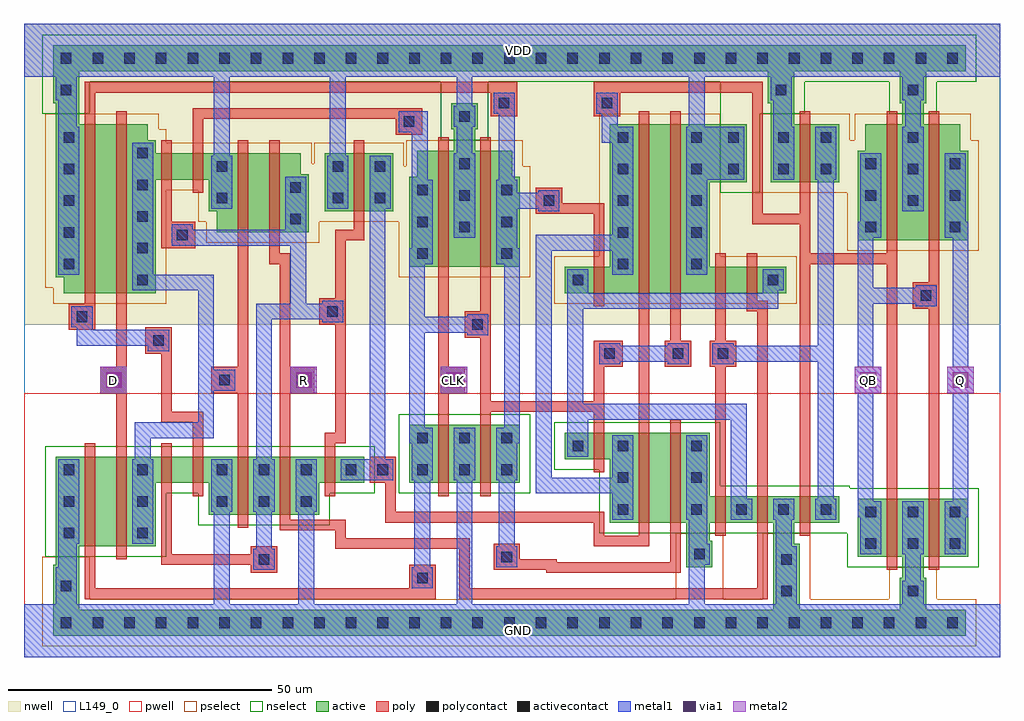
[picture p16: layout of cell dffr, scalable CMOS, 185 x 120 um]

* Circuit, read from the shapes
.subckt dffr CLK D GND Q QB R VDD
M1 n1 n2 GND GND nfet w=17u l=2u
M2 n3 D n1 GND nfet w=17u l=2u
M3 n4 n5 n3 GND nfet w=5u l=2u
M4 GND n6 n4 GND nfet w=5u l=2u
M5 n5 n3 GND GND nfet w=11u l=2u
M6 GND R n5 GND nfet w=11u l=2u
M7 n7 n5 GND GND nfet w=5u l=2u
M8 GND CLK n2 GND nfet w=11u l=2u
M9 n6 n2 GND GND nfet w=11u l=2u
M10 n8 n2 n9 GND nfet w=5u l=2u
M11 n10 n7 n8 GND nfet w=17u l=2u
M12 GND n6 n10 GND nfet w=17u l=2u
M13 n9 n11 GND GND nfet w=5u l=2u
M14 GND R n9 GND nfet w=5u l=2u
M15 n11 n8 GND GND nfet w=5u l=2u
M16 GND n8 QB GND nfet w=11u l=2u
M17 Q QB GND GND nfet w=11u l=2u
M18 n12 n6 VDD VDD pfet w=32u l=2u
M19 n3 D n12 VDD pfet w=32u l=2u
M20 n13 n5 n3 VDD pfet w=5u l=2u
M21 VDD n2 n13 VDD pfet w=5u l=2u
M22 n14 n3 VDD VDD pfet w=15u l=2u
M23 n5 R n14 VDD pfet w=15u l=2u
M24 n7 n5 VDD VDD pfet w=11u l=2u
M25 VDD CLK n2 VDD pfet w=22u l=2u
M26 n6 n2 VDD VDD pfet w=22u l=2u
M27 n8 n6 n9 VDD pfet w=5u l=2u
M28 n15 n7 n8 VDD pfet w=32u l=2u
M29 VDD n2 n15 VDD pfet w=32u l=2u
M30 n16 n11 VDD VDD pfet w=5u l=2u
M31 n9 R n16 VDD pfet w=5u l=2u
M32 n11 n8 VDD VDD pfet w=11u l=2u
M33 VDD n8 QB VDD pfet w=22u l=2u
M34 Q QB VDD VDD pfet w=22u l=2u
.ends

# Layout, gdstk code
from math import pi, radians
import gdstk
lib = gdstk.Library(unit=1e-6, precision=1e-09)
def R(c, l, rs):  # rectangles x0, y0, x1, y1
    for r in rs: c.add(gdstk.rectangle(r[:2], r[2:], *l))
def A(c, l, x, y, w, h, nx, ny, dx, dy):  # array of equal rectangles
    R(c, l, [(x+i*dx, y+j*dy, x+i*dx+w, y+j*dy+h) for i in range(nx) for j in range(ny)])
def P(c, l, *ps):  # polygons
    for p in ps: c.add(gdstk.Polygon(p, *l))
pwell = (41, 0)
nwell = (42, 0)
active = (43, 0)
pselect = (44, 0)
nselect = (45, 0)
poly = (46, 0)
polycontact = (47, 0)
activecontact = (48, 0)
metal1 = (49, 0)
via1 = (50, 0)
metal2 = (51, 0)
L149_0 = (149, 0)

via = lib.new_cell('via')
R(via, metal1, [(-2.5,-2.5,2.5,2.5)])
R(via, via1, [(-1.5,-1.5,1.5,1.5)])
R(via, metal2, [(-2.5,-2.5,2.5,2.5)])

dffr = lib.new_cell('dffr')
R(dffr, pwell, [(0,0,185,50), (152,13,185,36), (67,27,100,50)])
P(dffr, pwell, [(0,15),(0,44),(70.5,44),(70.5,27),(62,27),(62,21),(31,21),(31,15)],
  [(105,19.5),(105,31.5),(96.5,31.5),(96.5,48.5),(136,48.5),(136,36.5),(160.5,36.5),(160.5,19.5)])
R(dffr, nwell, [(0,63,185,120), (51,78.5,76,101.5), (135.5,84,160.5,107)])
P(dffr, nwell, [(152,73),(152,102),(153.5,102),(153.5,107),(183.5,107),(183.5,102),(185,102),(185,73)],
  [(31,63),(31,74.5),(60,74.5),(60,97.5),(58.5,97.5),(58.5,101.5),(31,101.5),(31,104),(29.5,104),(29.5,107),(0,107),(0,66),(1.5,66),(1.5,63)],
  [(96.5,63),(96.5,80),(105,80),(105,107),(136,107),(136,80),(150.5,80),(150.5,63)],
  [(67,68),(67,97),(68.5,97),(68.5,102),(98.5,102),(98.5,97),(100,97),(100,68)])
R(dffr, active, [(5.5,4,178.5,9), (5.5,9,10.5,17.5), (142,9,147,21.5), (166,9,171,15), (166.5,15,170.5,19), (125.5,17,130.5,22), (6,17.5,10.5,21), (158,19,163.5,30), (158,19,179,30), (173.5,19,179,30), (6,21,11.5,38), (142,21.5,146,25.5), (125.5,22,130,25.5), (149,25.5,154.5,30.5), (59,33,64.5,38), (73,33,78.5,44), (73,33,94,44), (88.5,33,94,44), (102.5,37.5,108,42.5), (102.5,69,108,74), (139,69,144.5,74), (57,84.5,62.5,95.5), (57,84.5,70,95.5), (64.5,84.5,70,95.5), (130,90,137,101), (141.5,90,147,101), (141.5,90,154.5,101), (149,90,154.5,101), (81.5,96,85.5,100), (81,100,86,105), (6,101,10.5,105), (141.5,101,146,105), (166.5,101,170.5,105), (5.5,105,10.5,111), (141,105,146,111), (166,105,171,111), (5.5,111,178.5,116)])
P(dffr, active, [(158,79),(158,96),(159.5,96),(159.5,101),(177.5,101),(177.5,96),(179,96),(179,79)],
  [(158,79),(158,96),(159.5,96),(159.5,101),(163.5,101),(163.5,79)],
  [(173.5,79),(173.5,101),(177.5,101),(177.5,96),(179,96),(179,79)],
  [(25,69),(25,90.5),(35,90.5),(35,84.5),(36.5,84.5),(36.5,80.5),(54,80.5),(54,91.5),(52.5,91.5),(52.5,95.5),(25,95.5),(25,98),(23.5,98),(23.5,101),(6,101),(6,72),(7.5,72),(7.5,69)],
  [(54,80.5),(54,91.5),(52.5,91.5),(52.5,95.5),(48.5,95.5),(48.5,80.5)],
  [(11.5,69),(11.5,101),(6,101),(6,72),(7.5,72),(7.5,69)],
  [(6,21),(6,38),(64.5,38),(64.5,33),(56,33),(56,27),(35,27),(35,33),(25,33),(25,21)],
  [(102.5,69),(102.5,74),(111,74),(111,101),(130,101),(130,74),(144.5,74),(144.5,69)],
  [(73,74),(73,91),(74.5,91),(74.5,96),(92.5,96),(92.5,91),(94,91),(94,74)],
  [(73,74),(73,91),(74.5,91),(74.5,96),(78.5,96),(78.5,74)],
  [(88.5,74),(88.5,96),(92.5,96),(92.5,91),(94,91),(94,74)],
  [(111,25.5),(111,37.5),(102.5,37.5),(102.5,42.5),(130,42.5),(130,30.5),(154.5,30.5),(154.5,25.5)])
R(dffr, pselect, [(3.5,2,180.5,11), (3.5,11,12.5,19), (123.5,11,132.5,23.5), (140,11,149,23.5), (164,11,173,17), (55,82.5,72,97.5), (139.5,88,156.5,103)])
P(dffr, pselect, [(156,77),(156,98),(157.5,98),(157.5,103),(179.5,103),(179.5,98),(181,98),(181,77)],
  [(27,67),(27,88.5),(33,88.5),(33,82.5),(34.5,82.5),(34.5,78.5),(56,78.5),(56,93.5),(54.5,93.5),(54.5,97.5),(27,97.5),(27,100),(25.5,100),(25.5,103),(4,103),(4,70),(5.5,70),(5.5,67)],
  [(100.5,67),(100.5,76),(109,76),(109,103),(132,103),(132,76),(146.5,76),(146.5,67)],
  [(71,72),(71,93),(72.5,93),(72.5,98),(94.5,98),(94.5,93),(96,93),(96,72)])
R(dffr, nselect, [(156,17,181,32), (71,31,96,46), (132,88,139.5,103), (79,98,88,109), (3.5,103,12.5,109), (132,103,148,109), (164,103,173,109), (3.5,109,180.5,118)])
P(dffr, nselect, [(4,19),(4,40),(66.5,40),(66.5,31),(58,31),(58,25),(33,25),(33,31),(27,31),(27,19)],
  [(109,23.5),(109,35.5),(100.5,35.5),(100.5,44.5),(132,44.5),(132,32.5),(156.5,32.5),(156.5,23.5)])
A(dffr, poly, 131, 23, 2, 2.5, 3, 2, 8, 7.5)
A(dffr, poly, 131, 25.5, 2, 5, 3, 1, 8, 0)
R(dffr, poly, [(73,12.5,78,17.5), (43,16,48,21), (89,16.5,94,21.5), (163.5,16.5,165.5,19), (171.5,16.5,173.5,19), (11.5,18.5,13.5,21), (17.5,18.5,19.5,21), (163.5,19,165.5,30), (171.5,19,173.5,30), (11.5,21,13.5,38), (17.5,21,19.5,38), (116.5,23,118.5,25.5), (122.5,23,124.5,25.5), (40.5,24.5,42.5,27), (48.5,24.5,50.5,27), (116.5,25.5,118.5,42.5), (122.5,25.5,124.5,42.5), (40.5,27,42.5,38), (48.5,27,50.5,38), (163.5,30,165.5,32.5), (171.5,30,173.5,32.5), (26,30.5,28,33), (32,30.5,34,33), (57,30.5,59,33), (78.5,30.5,80.5,33), (86.5,30.5,88.5,33), (26,33,28,38), (32,33,34,38), (57,33,59,38), (65.5,33,70.5,38), (78.5,33,80.5,44), (86.5,33,88.5,44), (108,35,110,37.5), (108,37.5,110,42.5), (11.5,38,13.5,40.5), (17.5,38,19.5,40.5), (26,38,28,40.5), (32,38,34,40.5), (40.5,38,42.5,40.5), (48.5,38,50.5,40.5), (57,38,59,40.5), (108,42.5,110,45), (116.5,42.5,118.5,45), (122.5,42.5,124.5,45), (78.5,44,80.5,46.5), (86.5,44,88.5,46.5), (14.5,50,19.5,55), (35.5,50,40.5,55), (50,50,55,55), (78.5,50,83.5,55), (108.5,55,113.5,60), (121.5,55,126.5,60), (130,55,135,60), (23,57.5,28,62.5), (83.5,60.5,88.5,65.5), (8.5,62,13.5,67), (56,63,61,68), (168.5,66,173.5,71), (11.5,66.5,13.5,69), (17.5,66.5,19.5,69), (108,66.5,110,69), (116.5,66.5,118.5,69), (122.5,66.5,124.5,69), (131,66.5,133,69), (137,66.5,139,69), (11.5,69,13.5,101), (17.5,69,19.5,101), (108,69,110,74), (116.5,69,118.5,101), (122.5,69,124.5,101), (131,69,133,74), (137,69,139,74), (78.5,71.5,80.5,74), (86.5,71.5,88.5,74), (78.5,74,80.5,96), (86.5,74,88.5,96), (108,74,110,76.5), (131,74,133,76.5), (137,74,139,76.5), (163.5,76.5,165.5,79), (171.5,76.5,173.5,79), (27.5,77.5,32.5,82.5), (40.5,78,42.5,80.5), (46.5,78,48.5,80.5), (163.5,79,165.5,101), (171.5,79,173.5,101), (40.5,80.5,42.5,95.5), (46.5,80.5,48.5,95.5), (62.5,82,64.5,84.5), (97,84,102,89), (62.5,84.5,64.5,95.5), (147,87.5,149,90), (26,88,28,90.5), (32,88,34,90.5), (147,90,149,101), (26,90.5,28,95.5), (32,90.5,34,95.5), (26,95.5,28,98), (32,95.5,34,98), (40.5,95.5,42.5,98), (46.5,95.5,48.5,98), (62.5,95.5,64.5,98), (78.5,96,80.5,98.5), (86.5,96,88.5,98.5), (70.5,99,75.5,104), (11.5,101,13.5,103.5), (17.5,101,19.5,103.5), (116.5,101,118.5,103.5), (122.5,101,124.5,103.5), (147,101,149,103.5), (163.5,101,165.5,103.5), (171.5,101,173.5,103.5), (88.5,102.5,93.5,107.5), (108,102.5,113,107.5)])
R(dffr, polycontact, [(74.5,14,76.5,16), (44.5,17.5,46.5,19.5), (90.5,18,92.5,20), (67,34.5,69,36.5), (16,51.5,18,53.5), (37,51.5,39,53.5), (51.5,51.5,53.5,53.5), (80,51.5,82,53.5), (110,56.5,112,58.5), (123,56.5,125,58.5), (131.5,56.5,133.5,58.5), (24.5,59,26.5,61), (85,62,87,64), (10,63.5,12,65.5), (57.5,64.5,59.5,66.5), (170,67.5,172,69.5), (29,79,31,81), (98.5,85.5,100.5,87.5), (72,100.5,74,102.5), (90,104,92,106), (109.5,104,111.5,106)])
A(dffr, activecontact, 7, 5.5, 2, 2, 29, 2, 6, 107)
A(dffr, activecontact, 159.5, 20.5, 2, 2, 3, 2, 8, 6)
A(dffr, activecontact, 7.5, 22.5, 2, 2, 1, 3, 0, 6)
A(dffr, activecontact, 21.5, 22.5, 2, 2, 1, 3, 0, 6)
A(dffr, activecontact, 112.5, 27, 2, 2, 1, 3, 0, 6)
A(dffr, activecontact, 126.5, 27, 2, 2, 1, 3, 0, 6)
A(dffr, activecontact, 135, 27, 2, 2, 3, 1, 8, 0)
A(dffr, activecontact, 36.5, 28.5, 2, 2, 3, 2, 8, 6)
A(dffr, activecontact, 74.5, 34.5, 2, 2, 3, 2, 8, 6)
A(dffr, activecontact, 21.5, 70.5, 2, 2, 1, 5, 0, 6)
A(dffr, activecontact, 7.5, 73.5, 2, 2, 1, 5, 0, 6)
A(dffr, activecontact, 112.5, 73.5, 2, 2, 1, 5, 0, 6)
A(dffr, activecontact, 126.5, 73.5, 2, 2, 1, 5, 0, 6)
A(dffr, activecontact, 74.5, 75.5, 2, 2, 1, 3, 0, 6)
A(dffr, activecontact, 90.5, 75.5, 2, 2, 1, 3, 0, 6)
A(dffr, activecontact, 82.5, 80.5, 2, 2, 1, 3, 0, 6)
A(dffr, activecontact, 159.5, 80.5, 2, 2, 1, 3, 0, 6)
A(dffr, activecontact, 175.5, 80.5, 2, 2, 1, 3, 0, 6)
A(dffr, activecontact, 167.5, 85.5, 2, 2, 1, 3, 0, 6)
R(dffr, activecontact, [(143.5,11.5,145.5,13.5), (167.5,11.5,169.5,13.5), (7,12.5,9,14.5), (143.5,17.5,145.5,19.5), (127,18.5,129,20.5), (61,34.5,63,36.5), (104,39,106,41), (104,70.5,106,72.5), (141,70.5,143,72.5), (50.5,82,52.5,84), (36.5,86,38.5,88), (58.5,86,60.5,88), (66.5,86,68.5,88), (50.5,88,52.5,90), (133.5,91.5,135.5,93.5), (143,91.5,145,93.5), (151,91.5,153,93.5), (36.5,92,38.5,94), (58.5,92,60.5,94), (66.5,92,68.5,94), (133.5,97.5,135.5,99.5), (143,97.5,145,99.5), (151,97.5,153,99.5), (82.5,101.5,84.5,103.5), (7,106.5,9,108.5), (142.5,106.5,144.5,108.5), (167.5,106.5,169.5,108.5)])
A(dffr, metal1, 158.5, 19.5, 4, 10, 3, 1, 8, 0)
A(dffr, metal1, 134, 26, 4, 4, 3, 1, 8, 0)
A(dffr, metal1, 35.5, 27.5, 4, 10, 3, 1, 8, 0)
A(dffr, metal1, 73.5, 33.5, 4, 10, 3, 1, 8, 0)
R(dffr, metal1, [(0,0,185,10), (6,10,10,17), (142.5,10,146.5,21), (166.5,10,170.5,14.5), (73.5,13,77.5,17), (167,14.5,170,19.5), (43.5,16.5,47.5,20.5), (6.5,17,10,21.5), (89.5,17,93.5,21), (126,17.5,130,21.5), (142.5,21,145.5,26), (6.5,21.5,10.5,37.5), (20.5,21.5,24.5,37.5), (126,21.5,129.5,26), (111.5,26,115.5,42), (125.5,26,129.5,42), (60,33.5,64,37.5), (66,33.5,70,37.5), (103,38,107,42), (15,50.5,19,54.5), (36,50.5,40,54.5), (50.5,50.5,54.5,54.5), (79,50.5,83,54.5), (109,55.5,113,59.5), (122,55.5,126,59.5), (130.5,55.5,134.5,59.5), (23.5,58,27.5,62), (84,61,88,65), (9,62.5,13,66.5), (56.5,63.5,60.5,67.5), (169,66.5,173,70.5), (20.5,69.5,24.5,97.5), (103,69.5,107,73.5), (140,69.5,144,73.5), (6.5,72.5,10.5,100.5), (111.5,72.5,115.5,100.5), (125.5,72.5,129.5,100.5), (73.5,74.5,77.5,90.5), (89.5,74.5,93.5,90.5), (28,78,32,82), (81.5,79.5,85.5,95.5), (158.5,79.5,162.5,95.5), (174.5,79.5,178.5,95.5), (49.5,81,53.5,91), (97.5,84.5,101.5,88.5), (166.5,84.5,170.5,100.5), (35.5,85,39.5,95), (57.5,85,61.5,95), (65.5,85,69.5,95), (129.5,90.5,136.5,100.5), (142,90.5,146,100.5), (150,90.5,154,100.5), (82,95.5,85,100.5), (71,99.5,75,103.5), (6.5,100.5,10,105.5), (81.5,100.5,85.5,104.5), (142,100.5,145.5,105.5), (167,100.5,170,105.5), (89,103,93,107), (108.5,103,112.5,107), (6,105.5,10,110), (141.5,105.5,145.5,110), (166.5,105.5,170.5,110), (0,110,185,120)])
R(dffr, metal2, [(14.5,50,19.5,55), (50.5,50,55.5,55), (79,50,84,55), (157.5,50,162.5,55), (175,50,180,55)])
R(dffr, L149_0, [(0,0,185,120)])
dffr.add(gdstk.FlexPath([(27,30.5),(27,18.5),(43,18.5)], 2, ends="flush", simple_path=True, layer=46, datatype=0))  # poly
dffr.add(gdstk.FlexPath([(88.5,47.5),(108,47.5)], 2, ends="flush", simple_path=True, layer=46, datatype=0))  # poly
dffr.add(gdstk.FlexPath([(109,45),(109,60)], 2, ends="flush", simple_path=True, layer=46, datatype=0))  # poly
dffr.add(gdstk.FlexPath([(123.5,23),(123.5,17),(100,17),(100,17.5),(94,17.5)], 2, ends="flush", simple_path=True, layer=46, datatype=0))  # poly
dffr.add(gdstk.FlexPath([(48.5,25),(60,25),(60,21.5),(83.5,21.5),(83.5,12),(140,12),(140,12.5)], 2, ends="flush", simple_path=True, layer=46, datatype=0))  # poly
dffr.add(gdstk.FlexPath([(12.5,18.5),(12.5,12),(78,12)], 2, ends="flush", simple_path=True, layer=46, datatype=0))  # poly
dffr.add(gdstk.FlexPath([(33,40.5),(33,45.5),(27,45.5),(27,57.5)], 2, ends="flush", simple_path=True, layer=46, datatype=0))  # poly
dffr.add(gdstk.FlexPath([(58,40.5),(58,41.5),(60,41.5),(60,63)], 2, ends="flush", simple_path=True, layer=46, datatype=0))  # poly
dffr.add(gdstk.FlexPath([(69.5,33),(69.5,26.5),(109,26.5),(109,22),(117.5,22),(117.5,23)], 2, ends="flush", simple_path=True, layer=46, datatype=0))  # poly
dffr.add(gdstk.FlexPath([(140,12.5),(140,23)], 2, ends="flush", simple_path=True, layer=46, datatype=0))  # poly
dffr.add(gdstk.FlexPath([(127.5,17.5),(127.5,10)], 3, ends="flush", simple_path=True, layer=49, datatype=0))  # metal1
dffr.add(gdstk.FlexPath([(105.5,42),(105.5,46.5),(135.5,46.5),(135.5,30)], 3, ends="flush", simple_path=True, layer=49, datatype=0))  # metal1
dffr.add(gdstk.FlexPath([(150.5,57.5),(134.5,57.5)], 3, ends="flush", simple_path=True, layer=49, datatype=0))  # metal1
dffr.add(gdstk.FlexPath([(83.5,33.5),(83.5,10)], 3, ends="flush", simple_path=True, layer=49, datatype=0))  # metal1
dffr.add(gdstk.FlexPath([(122,57.5),(113,57.5)], 3, ends="flush", simple_path=True, layer=49, datatype=0))  # metal1
dffr.add(gdstk.FlexPath([(64,35),(66.5,35)], 3, ends="flush", simple_path=True, layer=49, datatype=0))  # metal1
dffr.add(gdstk.FlexPath([(75.5,33.5),(75.5,17)], 3, ends="flush", simple_path=True, layer=49, datatype=0))  # metal1
dffr.add(gdstk.FlexPath([(91.5,21),(91.5,33.5)], 3, ends="flush", simple_path=True, layer=49, datatype=0))  # metal1
dffr.add(gdstk.FlexPath([(84,63),(76,63)], 3, ends="flush", simple_path=True, layer=49, datatype=0))  # metal1
dffr.add(gdstk.FlexPath([(37.5,27.5),(37.5,10)], 3, ends="flush", simple_path=True, layer=49, datatype=0))  # metal1
dffr.add(gdstk.FlexPath([(53.5,27.5),(53.5,10)], 3, ends="flush", simple_path=True, layer=49, datatype=0))  # metal1
dffr.add(gdstk.FlexPath([(23.5,60.5),(11.5,60.5),(11.5,62.5)], 3, ends="flush", simple_path=True, layer=49, datatype=0))  # metal1
dffr.add(gdstk.FlexPath([(45.5,27.5),(45.5,20.5)], 3, ends="flush", simple_path=True, layer=49, datatype=0))  # metal1
dffr.add(gdstk.FlexPath([(79.5,71.5),(79.5,46.5)], 2, ends="flush", simple_path=True, layer=46, datatype=0))  # poly
dffr.add(gdstk.FlexPath([(164.5,32.5),(164.5,76.5)], 2, ends="flush", simple_path=True, layer=46, datatype=0))  # poly
dffr.add(gdstk.FlexPath([(117.5,66.5),(117.5,45)], 2, ends="flush", simple_path=True, layer=46, datatype=0))  # poly
dffr.add(gdstk.FlexPath([(27,88),(27,77.5)], 2, ends="flush", simple_path=True, layer=46, datatype=0))  # poly
dffr.add(gdstk.FlexPath([(172.5,76.5),(172.5,32)], 2, ends="flush", simple_path=True, layer=46, datatype=0))  # poly
dffr.add(gdstk.FlexPath([(132,66.5),(132,33)], 2, ends="flush", simple_path=True, layer=46, datatype=0))  # poly
dffr.add(gdstk.FlexPath([(140,33),(140,66.5),(137,66.5)], 2, ends="flush", simple_path=True, layer=46, datatype=0))  # poly
dffr.add(gdstk.FlexPath([(60,68),(60,80),(63.5,80),(63.5,82)], 2, ends="flush", simple_path=True, layer=46, datatype=0))  # poly
dffr.add(gdstk.FlexPath([(147,83),(139,83),(139,108),(109,108),(109,107)], 2, ends="flush", simple_path=True, layer=46, datatype=0))  # poly
dffr.add(gdstk.FlexPath([(109,76.5),(109,85),(102,85)], 2, ends="flush", simple_path=True, layer=46, datatype=0))  # poly
dffr.add(gdstk.FlexPath([(70.5,103),(33,103),(33,98)], 2, ends="flush", simple_path=True, layer=46, datatype=0))  # poly
dffr.add(gdstk.FlexPath([(18.5,66.5),(18.5,40.5)], 2, ends="flush", simple_path=True, layer=46, datatype=0))  # poly
dffr.add(gdstk.FlexPath([(148,87.5),(148,33)], 2, ends="flush", simple_path=True, layer=46, datatype=0))  # poly
dffr.add(gdstk.FlexPath([(87.5,46.5),(87.5,71.5)], 2, ends="flush", simple_path=True, layer=46, datatype=0))  # poly
dffr.add(gdstk.FlexPath([(41.5,40.5),(41.5,78)], 2, ends="flush", simple_path=True, layer=46, datatype=0))  # poly
dffr.add(gdstk.FlexPath([(47.5,78),(47.5,75.5),(49.5,75.5),(49.5,40.5)], 2, ends="flush", simple_path=True, layer=46, datatype=0))  # poly
dffr.add(gdstk.FlexPath([(12.5,103.5),(12.5,108),(93.5,108)], 2, ends="flush", simple_path=True, layer=46, datatype=0))  # poly
dffr.add(gdstk.FlexPath([(123.5,66.5),(123.5,60)], 2, ends="flush", simple_path=True, layer=46, datatype=0))  # poly
dffr.add(gdstk.FlexPath([(163.5,75.5),(149,75.5)], 2, ends="flush", simple_path=True, layer=46, datatype=0))  # poly
dffr.add(gdstk.FlexPath([(141.5,69.5),(141.5,67.5),(105.5,67.5),(105.5,69.5)], 3, ends="flush", simple_path=True, layer=49, datatype=0))  # metal1
dffr.add(gdstk.FlexPath([(50.5,65.5),(45.5,65.5),(45.5,37.5)], 3, ends="flush", simple_path=True, layer=49, datatype=0))  # metal1
dffr.add(gdstk.FlexPath([(169,68.5),(161,68.5)], 3, ends="flush", simple_path=True, layer=49, datatype=0))  # metal1
dffr.add(gdstk.FlexPath([(37.5,95),(37.5,110)], 3, ends="flush", simple_path=True, layer=49, datatype=0))  # metal1
dffr.add(gdstk.FlexPath([(111,103),(111,99),(111.5,99)], 3, ends="flush", simple_path=True, layer=49, datatype=0))  # metal1
dffr.add(gdstk.FlexPath([(159.5,82.5),(159.5,26.5)], 3, ends="flush", simple_path=True, layer=49, datatype=0))  # metal1
dffr.add(gdstk.FlexPath([(83.5,104.5),(83.5,110)], 3, ends="flush", simple_path=True, layer=49, datatype=0))  # metal1
dffr.add(gdstk.FlexPath([(67,85),(67,36),(64,36)], 3, ends="flush", simple_path=True, layer=49, datatype=0))  # metal1
dffr.add(gdstk.FlexPath([(127.5,100.5),(127.5,110)], 3, ends="flush", simple_path=True, layer=49, datatype=0))  # metal1
dffr.add(gdstk.FlexPath([(152,90.5),(152,30)], 3, ends="flush", simple_path=True, layer=49, datatype=0))  # metal1
dffr.add(gdstk.FlexPath([(52,78),(52,65.5),(56.5,65.5)], 3, ends="flush", simple_path=True, layer=49, datatype=0))  # metal1
dffr.add(gdstk.FlexPath([(97.5,86.5),(93.5,86.5)], 3, ends="flush", simple_path=True, layer=49, datatype=0))  # metal1
dffr.add(gdstk.FlexPath([(111.5,78.5),(98.5,78.5),(98.5,32.5),(111.5,32.5)], 3, ends="flush", simple_path=True, layer=49, datatype=0))  # metal1
dffr.add(gdstk.FlexPath([(92.5,40.5),(92.5,77.5)], 3, ends="flush", simple_path=True, layer=49, datatype=0))  # metal1
dffr.add(gdstk.FlexPath([(104.5,42),(104.5,69.5)], 3, ends="flush", simple_path=True, layer=49, datatype=0))  # metal1
dffr.add(gdstk.FlexPath([(177.5,26.5),(177.5,82.5)], 3, ends="flush", simple_path=True, layer=49, datatype=0))  # metal1
dffr.add(gdstk.FlexPath([(24.5,71),(34.5,71),(34.5,43),(22.5,43),(22.5,37.5)], 3, ends="flush", simple_path=True, layer=49, datatype=0))  # metal1
dffr.add(gdstk.FlexPath([(75,90.5),(75,103.5)], 3, ends="flush", simple_path=True, layer=49, datatype=0))  # metal1
dffr.add(gdstk.FlexPath([(91.5,90.5),(91.5,105)], 3, ends="flush", simple_path=True, layer=49, datatype=0))  # metal1
dffr.add(gdstk.FlexPath([(74.5,40.5),(74.5,77.5)], 3, ends="flush", simple_path=True, layer=49, datatype=0))  # metal1
dffr.add(gdstk.FlexPath([(32,79.5),(53.5,79.5)], 3, ends="flush", simple_path=True, layer=49, datatype=0))  # metal1
dffr.add(gdstk.FlexPath([(59.5,95),(59.5,110)], 3, ends="flush", simple_path=True, layer=49, datatype=0))  # metal1
dffr.add(gdstk.Reference(via, (177.5,52.5), rotation=pi, x_reflection=True))
dffr.add(gdstk.Reference(via, (81.5,52.5), rotation=pi, x_reflection=True))
dffr.add(gdstk.Reference(via, (53,52.5), rotation=pi, x_reflection=True))
dffr.add(gdstk.Reference(via, (17,52.5), rotation=pi, x_reflection=True))
dffr.add(gdstk.Reference(via, (160,52.5), rotation=pi, x_reflection=True))
dffr.add(gdstk.Label('GND', (93.75,5), layer=2, texttype=0))
dffr.add(gdstk.Label('R', (53,52.5), layer=3, texttype=0))
dffr.add(gdstk.Label('D', (17,52.5), layer=3, texttype=0))
dffr.add(gdstk.Label('CLK', (81.5,52.5), layer=3, texttype=0))
dffr.add(gdstk.Label('Q', (177.5,52.5), layer=3, texttype=0))
dffr.add(gdstk.Label('QB', (160,52.5), layer=3, texttype=0))
dffr.add(gdstk.Label('VDD', (93.75,115), layer=2, texttype=0))
dffr.add(gdstk.Label('GND', (92.5,5), layer=2, texttype=0))
dffr.add(gdstk.Label('VDD', (92.5,115), layer=2, texttype=0))
dffr.add(gdstk.Label('R', (53,52.5), layer=3, texttype=0))
dffr.add(gdstk.Label('D', (17,52.5), layer=3, texttype=0))
dffr.add(gdstk.Label('Q', (177.5,52.5), layer=3, texttype=0))
dffr.add(gdstk.Label('QB', (160,52.5), layer=3, texttype=0))
dffr.add(gdstk.Label('CLK', (81.5,52.5), layer=3, texttype=0))

lib.write_gds('dffr.gds')
